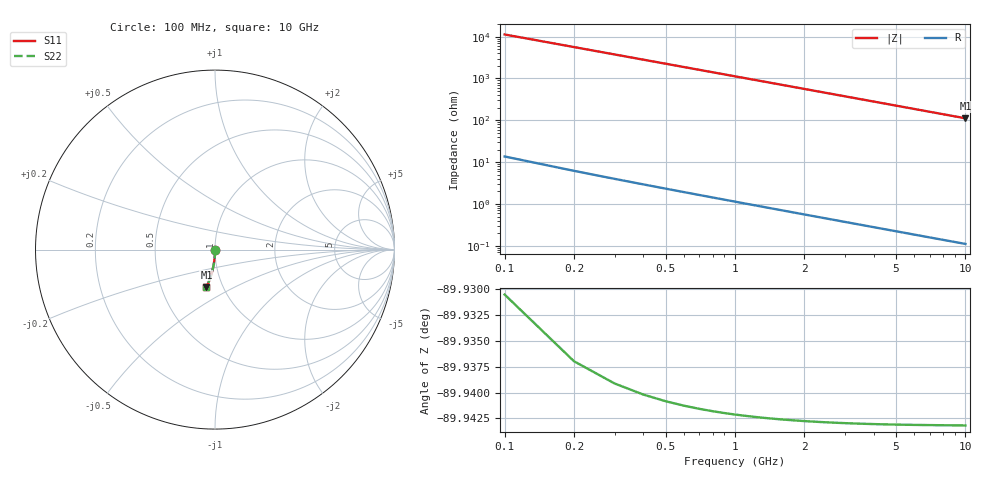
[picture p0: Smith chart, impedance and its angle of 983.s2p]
# Hz S RI R 50.00
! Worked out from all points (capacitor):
!   100 points, 100 MHz to 10 GHz, reference 50 ohm
!   read as one part in shunt: C = 141 fF near 100 MHz
!   lowest |Z| = 112 ohm at 10 GHz (marker M1)
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1e8  1.44e-06 -0.00218  1 -0.00227  1 -0.00227  1.44e-06 -0.00218
2e8  -1.55e-05 -0.00435  1 -0.00453  1 -0.00453  -1.55e-05 -0.00435
3e8  -4.23e-05 -0.00653  0.9999 -0.0068  0.9999 -0.0068  -4.23e-05 -0.00653
4e8  -7.89e-05 -0.0087  0.9999 -0.00906  0.9999 -0.00906  -7.89e-05 -0.0087
5e8  -0.000125 -0.0109  0.9999 -0.0113  0.9999 -0.0113  -0.000125 -0.0109
6e8  -0.000182 -0.0131  0.9998 -0.0136  0.9998 -0.0136  -0.000182 -0.0131
7e8  -0.000248 -0.0152  0.9997 -0.0159  0.9997 -0.0159  -0.000248 -0.0152
8e8  -0.000324 -0.0174  0.9997 -0.0181  0.9997 -0.0181  -0.000324 -0.0174
9e8  -0.00041 -0.0196  0.9996 -0.0204  0.9996 -0.0204  -0.00041 -0.0196
1.1e9  -0.000612 -0.0239  0.9994 -0.0249  0.9994 -0.0249  -0.000612 -0.0239
1.4e9  -0.000988 -0.0304  0.999 -0.0317  0.999 -0.0317  -0.000988 -0.0304
1.8e9  -0.00163 -0.0391  0.9984 -0.0408  0.9984 -0.0408  -0.00163 -0.0391
2.1e9  -0.00221 -0.0456  0.9978 -0.0476  0.9978 -0.0476  -0.00221 -0.0456
2.5e9  -0.00313 -0.0543  0.9968 -0.0566  0.9968 -0.0566  -0.00313 -0.0543
2.9e9  -0.0042 -0.063  0.9958 -0.0656  0.9958 -0.0656  -0.0042 -0.063
3.4e9  -0.00576 -0.0737  0.9942 -0.0768  0.9942 -0.0768  -0.00576 -0.0737
4.2e9  -0.00877 -0.0909  0.9912 -0.0947  0.9912 -0.0947  -0.00877 -0.0909
5.1e9  -0.0129 -0.11  0.9871 -0.1147  0.9871 -0.1147  -0.0129 -0.11
5.9e9  -0.0172 -0.1267  0.9828 -0.1322  0.9828 -0.1322  -0.0172 -0.1267
6.7e9  -0.022 -0.1433  0.9779 -0.1495  0.9779 -0.1495  -0.022 -0.1433
8.4e9  -0.0342 -0.1775  0.9657 -0.1853  0.9657 -0.1853  -0.0342 -0.1775
1e10  -0.0479 -0.2084  0.9521 -0.2178  0.9521 -0.2178  -0.0479 -0.2084
